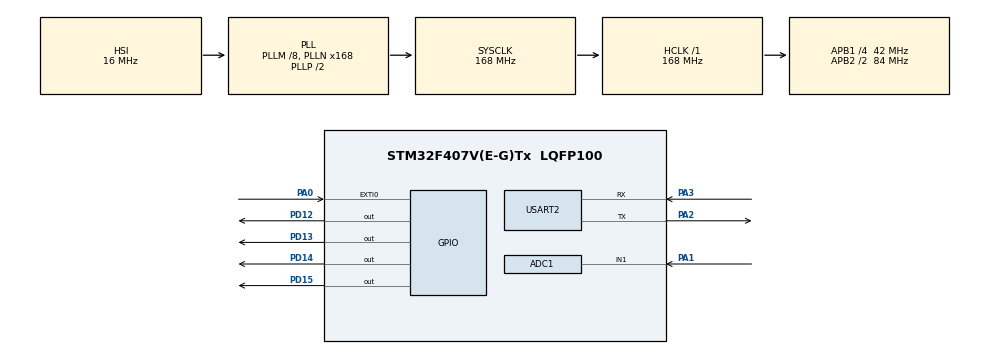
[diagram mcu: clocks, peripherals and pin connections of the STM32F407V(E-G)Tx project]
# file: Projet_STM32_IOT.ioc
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ADC1.Channel-0\#ChannelRegularConversion=ADC_CHANNEL_1
ADC1.ContinuousConvMode=ENABLE
ADC1.NbrOfConversionFlag=1
ADC1.Rank-0\#ChannelRegularConversion=1
ADC1.Resolution=ADC_RESOLUTION_8B
ADC1.SamplingTime-0\#ChannelRegularConversion=ADC_SAMPLETIME_3CYCLES
ADC1.master=1
Dma.Request0=USART2_RX
Dma.USART2_RX.0.Direction=DMA_PERIPH_TO_MEMORY
Dma.USART2_RX.0.FIFOMode=DMA_FIFOMODE_DISABLE
Dma.USART2_RX.0.Instance=DMA1_Stream5
Dma.USART2_RX.0.MemDataAlignment=DMA_MDATAALIGN_BYTE
Dma.USART2_RX.0.MemInc=DMA_MINC_ENABLE
Dma.USART2_RX.0.Mode=DMA_NORMAL
Dma.USART2_RX.0.PeriphDataAlignment=DMA_PDATAALIGN_BYTE
Dma.USART2_RX.0.PeriphInc=DMA_PINC_DISABLE
Dma.USART2_RX.0.Priority=DMA_PRIORITY_LOW
Mcu.Family=STM32F4
Mcu.Name=STM32F407V(E-G)Tx
Mcu.Package=LQFP100
NVIC.ADC_IRQn=true\:0\:0\:false\:false\:true\:true\:true\:true
NVIC.DMA1_Stream5_IRQn=true\:0\:0\:false\:false\:true\:false\:true\:true
NVIC.EXTI0_IRQn=true\:0\:0\:false\:false\:true\:true\:true\:true
NVIC.PriorityGroup=NVIC_PRIORITYGROUP_0
NVIC.USART2_IRQn=true\:0\:0\:false\:false\:true\:true\:true\:true
PA0-WKUP.GPIO_ModeDefaultEXTI=GPIO_MODE_IT_FALLING
PA0-WKUP.GPIO_PuPd=GPIO_PULLDOWN
PA0-WKUP.Signal=GPXTI0
PA1.Signal=ADCx_IN1
PA2.Mode=Asynchronous
PA2.Signal=USART2_TX
PA3.Mode=Asynchronous
PA3.Signal=USART2_RX
PD12.Signal=GPIO_Output
PD13.Signal=GPIO_Output
PD14.Signal=GPIO_Output
PD15.Signal=GPIO_Output
ProjectManager.HeapSize=0x200
ProjectManager.StackSize=0x400
ProjectManager.TargetToolchain=STM32CubeIDE
RCC.48MHZClocksFreq_Value=48000000
RCC.AHBFreq_Value=168000000
RCC.APB1CLKDivider=RCC_HCLK_DIV4
RCC.APB1Freq_Value=42000000
RCC.APB1TimFreq_Value=84000000
RCC.APB2CLKDivider=RCC_HCLK_DIV2
RCC.APB2Freq_Value=84000000
RCC.APB2TimFreq_Value=168000000
RCC.CortexFreq_Value=168000000
RCC.HCLKFreq_Value=168000000
RCC.HSE_VALUE=8000000
RCC.HSI_VALUE=16000000
RCC.LSE_VALUE=32768
RCC.PLLM=8
RCC.PLLN=168
RCC.PLLQ=7
RCC.SYSCLKFreq_VALUE=168000000
RCC.SYSCLKSource=RCC_SYSCLKSOURCE_PLLCLK
RCC.VCOOutputFreq_Value=336000000
SH.ADCx_IN1.0=ADC1_IN1,IN1
USART2.VirtualMode=VM_ASYNC
board=STM32F407G-DISC1

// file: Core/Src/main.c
/* USER CODE BEGIN Header */
/**
  ******************************************************************************
  * @file           : main.c
  * @brief          : Main program body
  ******************************************************************************
  * @attention
  *
  * Copyright (c) 2025 STMicroelectronics.
  * All rights reserved.
  *
  * This software is licensed under terms that can be found in the LICENSE file
  * in the root directory of this software component.
  * If no LICENSE file comes with this software, it is provided AS-IS.
  *
  ******************************************************************************
  */
/* USER CODE END Header */
#include "main.h"

/* USER CODE BEGIN Includes */
#include "string.h"
#include "stdio.h"
/* USER CODE END Includes */

ADC_HandleTypeDef hadc1;

UART_HandleTypeDef huart2;
DMA_HandleTypeDef hdma_usart2_rx;

ADC_HandleTypeDef hadc1;

UART_HandleTypeDef huart2;
DMA_HandleTypeDef hdma_usart2_rx;

/* USER CODE BEGIN PV */
// GARDE UNIQUEMENT CE BLOC UNE SEULE FOIS
uint8_t __CIPSEND[20]  =  "";
uint8_t RxDataBuffer[40];
uint8_t Exti0=0;
uint8_t UART_DMA_DataIsReady = 0;
char DMA_Buffer[256];
char CPU_Buffer[256];
char response[50];
char result[50];
char __OK[] = "OK";
char BUFFER_TO_SEND[100];
uint16_t ADCVal = 0;

DMA_HandleTypeDef hdma_adc1;
/* USER CODE END PV */

/* USER CODE BEGIN PV */
uint8_t __CIPSEND[20]  =  "";       // Buffer for sending data, for an AT command
uint8_t RxDataBuffer[40];           // Buffer for receiving data
uint8_t Exti0=0;
uint8_t UART_DMA_DataIsReady = 0;   // Flag to indicate if UART DMA data is ready
char DMA_Buffer[256];               // Buffer for DMA data
char CPU_Buffer[256];               // Buffer for CPU data processing
char response[50];                  // Buffer for storing response data
char result[50];                    // Buffer for storing result data
char __OK[] = "OK";                 // String constant for "OK" response
char BUFFER_TO_SEND[100];           // Buffer for data to be sent
uint16_t ADCVal = 0;                 // Variable to store ADC value

/* ========== AJOUT DES DECLARATIONS MANQUANTES ========== */
DMA_HandleTypeDef hdma_adc1;        // Déclaration du handle DMA pour ADC1
/* ========== FIN AJOUT ========== */
/* USER CODE END PV */

/* USER CODE BEGIN PV */
uint8_t __CIPSEND[20]  =  "";       // Buffer for sending data, for an AT command
uint8_t RxDataBuffer[40];           // Buffer for receiving data
uint8_t Exti0=0;
uint8_t UART_DMA_DataIsReady = 0;   // Flag to indicate if UART DMA data is ready
char DMA_Buffer[256];               // Buffer for DMA data
char CPU_Buffer[256];               // Buffer for CPU data processing
char response[50];                  // Buffer for storing response data
char result[50];                    // Buffer for storing result data
char __OK[] = "OK";                 // String constant for "OK" response
char BUFFER_TO_SEND[100];           // Buffer for data to be sent
uint16_t ADCVal = 0;                 // Variable to store ADC value
/* USER CODE END PV */

void SystemClock_Config(void);
static void MX_GPIO_Init(void);
static void MX_DMA_Init(void);
static void MX_USART2_UART_Init(void);
static void MX_ADC1_Init(void);
/* USER CODE BEGIN PFP */
void ESP8266_Init (void);
void ESP8266_SendServer (void);
/* USER CODE END PFP */

int main(void)
{

  /* MCU Configuration--------------------------------------------------------*/

  /* Reset of all peripherals, Initializes the Flash interface and the Systick. */
  HAL_Init();

  /* Configure the system clock */
  SystemClock_Config();

  /* Initialize all configured peripherals */
  MX_GPIO_Init();
  MX_DMA_Init();
  MX_USART2_UART_Init();
  MX_ADC1_Init();
  /* USER CODE BEGIN 2 */
  ESP8266_Init();
  /* USER CODE END 2 */

  /* Infinite loop */
  while (1)
  {

    /* USER CODE BEGIN 3 */

	    while (Exti0 == 0){}
	    ESP8266_SendServer();
  }
  /* USER CODE END 3 */
}

void SystemClock_Config(void)
{
  RCC_OscInitTypeDef RCC_OscInitStruct = {0};
  RCC_ClkInitTypeDef RCC_ClkInitStruct = {0};

  /** Configure the main internal regulator output voltage
  */
  __HAL_RCC_PWR_CLK_ENABLE();
  __HAL_PWR_VOLTAGESCALING_CONFIG(PWR_REGULATOR_VOLTAGE_SCALE1);

  /** Initializes the RCC Oscillators according to the specified parameters
  * in the RCC_OscInitTypeDef structure.
  */
  RCC_OscInitStruct.OscillatorType = RCC_OSCILLATORTYPE_HSI;
  RCC_OscInitStruct.HSIState = RCC_HSI_ON;
  RCC_OscInitStruct.HSICalibrationValue = RCC_HSICALIBRATION_DEFAULT;
  RCC_OscInitStruct.PLL.PLLState = RCC_PLL_ON;
  RCC_OscInitStruct.PLL.PLLSource = RCC_PLLSOURCE_HSI;
  RCC_OscInitStruct.PLL.PLLM = 8;
  RCC_OscInitStruct.PLL.PLLN = 168;
  RCC_OscInitStruct.PLL.PLLP = RCC_PLLP_DIV2;
  RCC_OscInitStruct.PLL.PLLQ = 7;
  if (HAL_RCC_OscConfig(&RCC_OscInitStruct) != HAL_OK)
  {
    Error_Handler();
  }

  /** Initializes the CPU, AHB and APB buses clocks
  */
  RCC_ClkInitStruct.ClockType = RCC_CLOCKTYPE_HCLK|RCC_CLOCKTYPE_SYSCLK
                              |RCC_CLOCKTYPE_PCLK1|RCC_CLOCKTYPE_PCLK2;
  RCC_ClkInitStruct.SYSCLKSource = RCC_SYSCLKSOURCE_PLLCLK;
  RCC_ClkInitStruct.AHBCLKDivider = RCC_SYSCLK_DIV1;
  RCC_ClkInitStruct.APB1CLKDivider = RCC_HCLK_DIV4;
  RCC_ClkInitStruct.APB2CLKDivider = RCC_HCLK_DIV2;

  if (HAL_RCC_ClockConfig(&RCC_ClkInitStruct, FLASH_LATENCY_5) != HAL_OK)
  {
    Error_Handler();
  }
}

static void MX_ADC1_Init(void)
{

  ADC_ChannelConfTypeDef sConfig = {0};

  /** Configure the global features of the ADC (Clock, Resolution, Data Alignment and number of conversion)
  */
  hadc1.Instance = ADC1;
  hadc1.Init.ClockPrescaler = ADC_CLOCK_SYNC_PCLK_DIV4;
  hadc1.Init.Resolution = ADC_RESOLUTION_8B;
  hadc1.Init.ScanConvMode = DISABLE;
  hadc1.Init.ContinuousConvMode = ENABLE;
  hadc1.Init.DiscontinuousConvMode = DISABLE;
  hadc1.Init.ExternalTrigConvEdge = ADC_EXTERNALTRIGCONVEDGE_NONE;
  hadc1.Init.ExternalTrigConv = ADC_SOFTWARE_START;
  hadc1.Init.DataAlign = ADC_DATAALIGN_RIGHT;
  hadc1.Init.NbrOfConversion = 1;
  hadc1.Init.DMAContinuousRequests = DISABLE;
  hadc1.Init.EOCSelection = ADC_EOC_SINGLE_CONV;
  if (HAL_ADC_Init(&hadc1) != HAL_OK)
  {
    Error_Handler();
  }

  /** Configure for the selected ADC regular channel its corresponding rank in the sequencer and its sample time.
  */
  sConfig.Channel = ADC_CHANNEL_1;
  sConfig.Rank = 1;
  sConfig.SamplingTime = ADC_SAMPLETIME_3CYCLES;
  if (HAL_ADC_ConfigChannel(&hadc1, &sConfig) != HAL_OK)
  {
    Error_Handler();
  }

}

static void MX_USART2_UART_Init(void)
{

  huart2.Instance = USART2;
  huart2.Init.BaudRate = 115200;
  huart2.Init.WordLength = UART_WORDLENGTH_8B;
  huart2.Init.StopBits = UART_STOPBITS_1;
  huart2.Init.Parity = UART_PARITY_NONE;
  huart2.Init.Mode = UART_MODE_TX_RX;
  huart2.Init.HwFlowCtl = UART_HWCONTROL_NONE;
  huart2.Init.OverSampling = UART_OVERSAMPLING_16;
  if (HAL_UART_Init(&huart2) != HAL_OK)
  {
    Error_Handler();
  }

}

static void MX_DMA_Init(void)
{

  /* DMA controller clock enable */
  __HAL_RCC_DMA1_CLK_ENABLE();

  /* DMA interrupt init */
  /* DMA1_Stream5_IRQn interrupt configuration */
  HAL_NVIC_SetPriority(DMA1_Stream5_IRQn, 0, 0);
  HAL_NVIC_EnableIRQ(DMA1_Stream5_IRQn);

}

static void MX_GPIO_Init(void)
{
  GPIO_InitTypeDef GPIO_InitStruct = {0};

  /* GPIO Ports Clock Enable */
  __HAL_RCC_GPIOA_CLK_ENABLE();
  __HAL_RCC_GPIOD_CLK_ENABLE();

  /*Configure GPIO pin Output Level */
  HAL_GPIO_WritePin(GPIOD, GPIO_PIN_12|GPIO_PIN_13|GPIO_PIN_14|GPIO_PIN_15, GPIO_PIN_RESET);

  /*Configure GPIO pin : PA0 */
  GPIO_InitStruct.Pin = GPIO_PIN_0;
  GPIO_InitStruct.Mode = GPIO_MODE_IT_FALLING;
  GPIO_InitStruct.Pull = GPIO_PULLDOWN;
  HAL_GPIO_Init(GPIOA, &GPIO_InitStruct);

  /*Configure GPIO pins : PD12 PD13 PD14 PD15 */
  GPIO_InitStruct.Pin = GPIO_PIN_12|GPIO_PIN_13|GPIO_PIN_14|GPIO_PIN_15;
  GPIO_InitStruct.Mode = GPIO_MODE_OUTPUT_PP;
  GPIO_InitStruct.Pull = GPIO_NOPULL;
  GPIO_InitStruct.Speed = GPIO_SPEED_FREQ_LOW;
  HAL_GPIO_Init(GPIOD, &GPIO_InitStruct);

  /* EXTI interrupt init*/
  HAL_NVIC_SetPriority(EXTI0_IRQn, 0, 0);
  HAL_NVIC_EnableIRQ(EXTI0_IRQn);

}

/* USER CODE BEGIN 4 */

void ESP8266_Init (void)
{
  // Send reset command to ESP8266 and store the result
  ESP8266_SendCommand (__RST);
  // Wait for 2 seconds to allow the module to reset
  HAL_Delay(2000);
  // Send AT command to check if the module is responding
  ESP8266_SendCommand (__AT);
  // Set the WiFi mode (e.g., station mode)
  ESP8266_SendCommand (__CWMODE);
  // Connect to the specified WiFi network using provided credentials
  ESP8266_Connect_To_WiFi(WIFI_NAME, WIFI_PASSWORD);
  // Wait for 4 seconds to ensure the connection is established
  HAL_Delay(4000);
}

// Function to send data to the server
void ESP8266_SendServer (void)
{
  // Start ADC conversion
  HAL_ADC_Start(&hadc1);
  // Poll for ADC conversion completion with a timeout of 10 units
  HAL_ADC_PollForConversion(&hadc1, 10);
  // Get the ADC value
  ADCVal = HAL_ADC_GetValue(&hadc1);
  // Stop ADC conversion
  HAL_ADC_Stop(&hadc1);

  // Start a TCP connection
  ESP8266_SendCommand (__CIPSTART);

  // Clear the buffer to send
  memset (BUFFER_TO_SEND, '\0', sizeof(BUFFER_TO_SEND));
  // Format the data to send, including the server IP and ADC value
  sprintf(BUFFER_TO_SEND, "%s=%d\r\n", __SERVER_IP_WRITE, ADCVal);
  // Format the CIPSEND command with the length of the data to send
  sprintf((char*)__CIPSEND, "AT+CIPSEND=%d\r\n", strlen(BUFFER_TO_SEND));
  // Send the CIPSEND command to the ESP8266
  ESP8266_SendCommand (__CIPSEND);
  // Send the actual data to the ESP8266
  ESP8266_SendCommand((uint8_t*)&BUFFER_TO_SEND[0]);
  // Close the TCP connection
  ESP8266_SendCommand(__CIPCLOSE);
  Exti0=0;
  // Wait for 15 seconds before the next operation
  HAL_Delay(15000);

}

// Function to prepare the ESP8266 to receive data
void ESP8266_Receive (void)
{
  // Reset the data ready flag
  UART_DMA_DataIsReady = 0;
  // Clear the DMA buffer
  memset (DMA_Buffer, '\0', sizeof(DMA_Buffer));
  // Start UART reception with DMA, receiving data until idle
  HAL_UARTEx_ReceiveToIdle_DMA(&huart2, (uint8_t*)DMA_Buffer, sizeof(DMA_Buffer));
}

// Function to connect the ESP8266 to a WiFi network
void ESP8266_Connect_To_WiFi (uint8_t * wifi_name, uint8_t * password)
{
  uint8_t wifi_Command[40];
  // Format the WiFi connection command with the provided SSID and password
  sprintf((char*)wifi_Command, "AT+CWJAP=\"%s\",\"%s\"\r\n", wifi_name, password);
  // Send the WiFi connection command to the ESP8266
  ESP8266_SendCommand(wifi_Command);
}

// Function to send a command to the ESP8266 and receive the response
void  ESP8266_SendCommand (uint8_t * command)
{
  // Toggle a GPIO pin (for debugging or indication purposes)
  HAL_GPIO_TogglePin(GPIOD, GPIO_PIN_12);
  // Prepare to receive the response
  ESP8266_Receive();
  // Transmit the command to the ESP8266
  HAL_UART_Transmit(&huart2, command, strlen((const char*)command), 0xFFFF);
  // Short delay to allow the command to be processed
  HAL_Delay(50);
  // Wait until the data is ready
  while (UART_DMA_DataIsReady == 0) {}
}

// Callback function for UART receive event
void HAL_UARTEx_RxEventCallback(UART_HandleTypeDef *huart, uint16_t Size)
{
  // Toggle a GPIO pin (for debugging or indication purposes)
  HAL_GPIO_TogglePin(GPIOD, GPIO_PIN_13);
  // Clear the CPU buffer
  memset (CPU_Buffer, '\0', sizeof(CPU_Buffer));
  // Copy the received data from the DMA buffer to the CPU buffer
  memcpy (CPU_Buffer, DMA_Buffer, (DMAMAXCOUNTER - DMA1_Stream5->NDTR));
  // Prepare to receive the next data
  ESP8266_Receive();
  // Set the data ready flag
  UART_DMA_DataIsReady = 1;
}
/* USER CODE END 4 */

void Error_Handler(void)
{
  __disable_irq();
  while (1)
  {
  }
}
